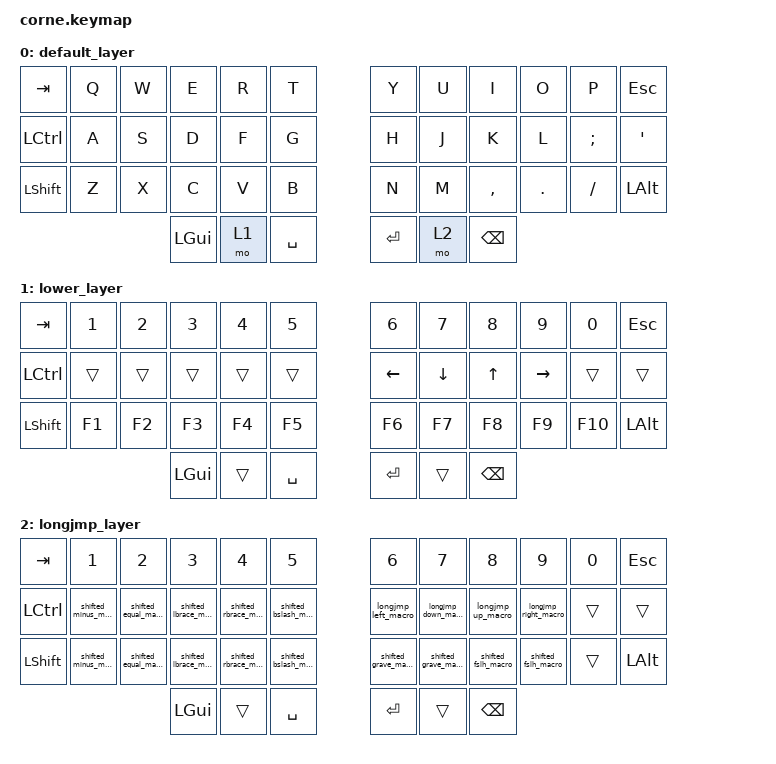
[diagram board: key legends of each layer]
/*
 * Copyright (c) 2020 The ZMK Contributors
 *
 * SPDX-License-Identifier: MIT
 */

#include <behaviors.dtsi>
#include <dt-bindings/zmk/keys.h>
#include <dt-bindings/zmk/bt.h>

/ {
    /* ─────────────── Macros (used on Layer 2) ─────────────── */
    macros {
        shifted_minus: shifted_minus_macro {
            compatible = "zmk,behavior-macro";
            label = "SHIFTED_MINUS";
            bindings = < &kp LSHFT &kp MINUS >;
        };
        shifted_equal: shifted_equal_macro {
            compatible = "zmk,behavior-macro";
            label = "SHIFTED_EQUAL";
            bindings = < &kp LSHFT &kp EQUAL >;
        };
        shifted_lbrace: shifted_lbrace_macro {
            compatible = "zmk,behavior-macro";
            label = "SHIFTED_LBRACE";
            bindings = < &kp LSHFT &kp LBRACE >;
        };
        shifted_rbrace: shifted_rbrace_macro {
            compatible = "zmk,behavior-macro";
            label = "SHIFTED_RBRACE";
            bindings = < &kp LSHFT &kp RBRACE >;
        };
        shifted_bslash: shifted_bslash_macro {
            compatible = "zmk,behavior-macro";
            label = "SHIFTED_BSLASH";
            bindings = < &kp LSHFT &kp BSLH >;
        };
        shifted_grave: shifted_grave_macro {
            compatible = "zmk,behavior-macro";
            label = "SHIFTED_GRAVE";
            bindings = < &kp LSHFT &kp GRAVE >;
        };
        shifted_fslh: shifted_fslh_macro {
            compatible = "zmk,behavior-macro";
            label = "SHIFTED_FSLASH";
            bindings = < &kp LSHFT &kp FSLH >;
        };

        longjmp_left: longjmp_left_macro {
            compatible = "zmk,behavior-macro";
            label = "LONGJMP_LEFT";
            bindings = < &kp LCTRL &kp LEFT >;
        };
        longjmp_down: longjmp_down_macro {
            compatible = "zmk,behavior-macro";
            label = "LONGJMP_DOWN";
            bindings = < &kp LCTRL &kp DOWN >;
        };
        longjmp_up: longjmp_up_macro {
            compatible = "zmk,behavior-macro";
            label = "LONGJMP_UP";
            bindings = < &kp LCTRL &kp UP >;
        };
        longjmp_right: longjmp_right_macro {
            compatible = "zmk,behavior-macro";
            label = "LONGJMP_RIGHT";
            bindings = < &kp LCTRL &kp RIGHT >;
        };
    };

    keymap {
        compatible = "zmk,keymap";

        default_layer {
            bindings = <
  &kp TAB   &kp Q    &kp W    &kp E    &kp R    &kp T    &kp Y    &kp U    &kp I    &kp O    &kp P    &kp ESC
  &kp LCTRL &kp A    &kp S    &kp D    &kp F    &kp G    &kp H    &kp J    &kp K    &kp L    &kp SEMI &kp SQT
  &kp LSHFT &kp Z    &kp X    &kp C    &kp V    &kp B    &kp N    &kp M    &kp COMMA &kp DOT &kp FSLH &kp LALT
                      &kp LGUI &mo 1   &kp SPACE &kp RET &mo 2   &kp BSPC
            >;
        };

        lower_layer {
            bindings = <
  &kp TAB   &kp N1   &kp N2   &kp N3   &kp N4   &kp N5   &kp N6   &kp N7   &kp N8   &kp N9   &kp N0   &kp ESC
  &kp LCTRL &trans   &trans   &trans   &trans   &trans   &kp LEFT &kp DOWN &kp UP  &kp RIGHT &trans   &trans
  &kp LSHFT &kp F1   &kp F2   &kp F3   &kp F4   &kp F5   &kp F6   &kp F7   &kp F8  &kp F9   &kp F10  &kp LALT
                      &kp LGUI &trans &kp SPACE &kp RET &trans &kp BSPC
            >;
        };

        longjmp_layer {
            bindings = <
  &kp TAB   &kp N1   &kp N2   &kp N3   &kp N4   &kp N5   &kp N6   &kp N7   &kp N8   &kp N9   &kp N0   &kp ESC
  &kp LCTRL &shifted_minus_macro &shifted_equal_macro &shifted_lbrace_macro &shifted_rbrace_macro &shifted_bslash_macro &longjmp_left_macro &longjmp_down_macro &longjmp_up_macro &longjmp_right_macro &trans &trans
  &kp LSHFT &shifted_minus_macro &shifted_equal_macro &shifted_lbrace_macro &shifted_rbrace_macro &shifted_bslash_macro &shifted_grave_macro &shifted_grave_macro &shifted_fslh_macro &shifted_fslh_macro &trans &kp LALT
                      &kp LGUI &trans &kp SPACE &kp RET &trans &kp BSPC
            >;
        };
    };
};
